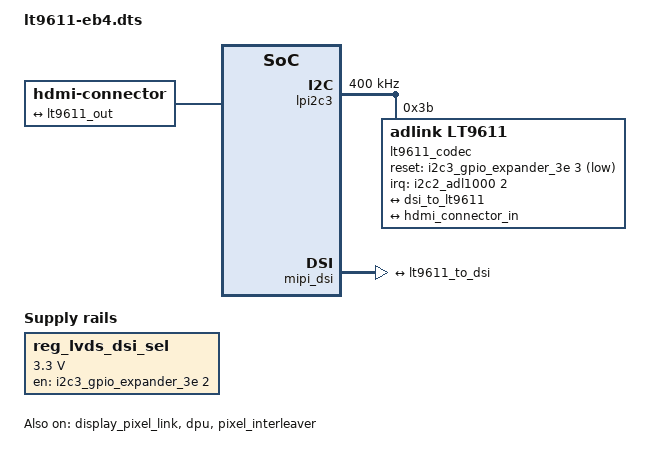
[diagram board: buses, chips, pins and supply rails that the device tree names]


&{/} {
	hdmi-connector {
		compatible = "hdmi-connector";
		label = "hdmi";
		type = "a";

		port {
			hdmi_connector_in: endpoint {
				remote-endpoint = <&lt9611_out>;
			};
		};
	};

	sound-hdmi {
		compatible = "simple-audio-card";
		simple-audio-card,name = "sound-hdmi";
		simple-audio-card,format = "i2s";
		simple-audio-card,frame-master = <&hdmicpu>;
		simple-audio-card,bitclock-master = <&hdmicpu>;

		hdmicpu:simple-audio-card,cpu {
			sound-dai = <&sai1>;
			system-clock-direction-out;
		};

		simple-audio-card,codec {
			sound-dai = <&lt9611_codec 0>;
		};
	};
	
	//LVDS_DSI_SEL , 0:DSI , 1:LVDS
	reg_lvds_dsi_sel: regulator-lvds-dsi-sel {
		compatible = "regulator-fixed";
		regulator-name = "lvds-dsi-sel";
		regulator-min-microvolt = <3300000>;
		regulator-max-microvolt = <3300000>;
		gpio = <&i2c3_gpio_expander_3e 2 GPIO_ACTIVE_HIGH>;
		enable-active-high;
	};
};

&display_pixel_link {
	status = "okay";
};

&dpu {
	assigned-clocks = <&scmi_clk IMX95_CLK_DISP1PIX>,
			  <&scmi_clk IMX95_CLK_VIDEOPLL1_VCO>,
			  <&scmi_clk IMX95_CLK_VIDEOPLL1>;
	assigned-clock-parents = <&scmi_clk IMX95_CLK_VIDEOPLL1>;
	assigned-clock-rates = <0>, <4008000000>, <445333334>;
	status = "okay";
};

&lpi2c3 {
	clock-frequency = <400000>;
	status = "okay";


	/* U2201 LT9611_LONTIUM */
	lt9611_codec: hdmi-bridge@3b {
		#sound-dai-cells = <1>;
		compatible = "adlink,lt9611";
		reg = <0x3b>;
		
		//GPIO_B_4 , LT9611_INT
		interrupts-extended = <&i2c2_adl1000 2 IRQ_TYPE_EDGE_FALLING>;
		//LT9611_RST_N_3V3
		reset-gpios = <&i2c3_gpio_expander_3e 3 GPIO_ACTIVE_LOW>;

		clocks = <&scmi_clk IMX95_CLK_DISP1PIX>, <&scmi_clk IMX95_CLK_VIDEOPLL1_VCO>, <&scmi_clk IMX95_CLK_VIDEOPLL1>;
		clock-names = "pix","vco","videopll1";

		ports {
			#address-cells = <1>;
			#size-cells = <0>;

			port@0 {
				reg = <0>;

				lt9611_to_dsi: endpoint {
					remote-endpoint = <&dsi_to_lt9611>;
				};
			};

			port@2 {
				reg = <2>;

				lt9611_out: endpoint {
					remote-endpoint = <&hdmi_connector_in>;
				};
			};
		};
	};
};

&mipi_dsi {
	status = "okay";

	ports {
		#address-cells = <1>;
		#size-cells = <0>;

		port@1 {
			reg = <1>;

			dsi_to_lt9611: endpoint {
				remote-endpoint = <&lt9611_to_dsi>;
			};
		};
	};
};

&pixel_interleaver {
	#address-cells = <1>;
	#size-cells = <0>;
	status = "okay";

	channel@1 {
		reg = <1>;
		status = "okay";
	};
};
